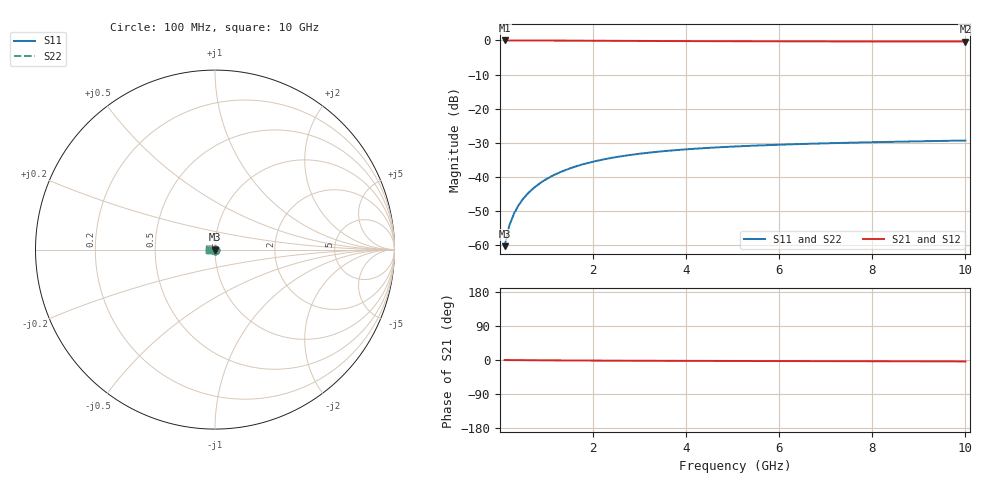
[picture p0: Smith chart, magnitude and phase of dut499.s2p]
! Touchstone file exported from HFSS 2024.1.0
!  File:  C:/UserFiles/LocalFiles/RDL_TSV_Batchsim/temp_TSV1_499_1779701231.aedt
!  Generated:  05:32:12 PM May 25, 2026
!  Design:  TSV1
!  Project:  temp_TSV1_499_1779701231
!  Setup:  Setup1
!  Solution:  Sweep
! Variables:
!  dtsv = 11.81um
!  hbump = 3um
!  htsv = 54.25um
!  lrdl = 252.1521522um
!  p = 40
!  p1 = 53um
!  t = 500um
!  trdl = 3um
!  wrdl = 24.89489489um
# GHz S MA R 50.000000
! Terminal data exported
! Port[1] = TSV22_T1
! Port[2] = TSV22_T2
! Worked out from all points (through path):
!   100 points, 100 MHz to 10 GHz, reference 50 ohm
!   highest |S21| = 0.00 dB at 100 MHz (marker M1); lowest = -0.3 dB at 10 GHz (marker M2)
!   lowest |S11| = -60.3 dB at 100 MHz (marker M3), VSWR 1.00, Z = 50 - j0.096 ohm
!   |S11| at or under -10 dB: start of sweep to end of sweep
!   |S22| runs from -60.3 to -29.4 dB; largest |S21 - S12| = 4e-15
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0.1  0.0009614 -87.0  0.9999 -0.1  0.9999 -0.1  0.0009614 -87.0
! Gamma 0 0 0 0
! Port Impedance 50 0 50 0
0.2  0.001918 -91.2  0.9998 -0.2  0.9998 -0.2  0.001918 -91.2
0.3  0.002875 -93.8  0.9996 -0.3  0.9996 -0.3  0.002875 -93.8
0.4  0.003828 -96.1  0.9994 -0.4  0.9994 -0.4  0.003828 -96.1
0.5  0.004772 -98.2  0.9991 -0.5  0.9991 -0.5  0.004772 -98.2
0.6  0.005705 -100.2  0.9987 -0.6  0.9987 -0.6  0.005705 -100.2
0.7  0.006623 -102.2  0.9983 -0.6  0.9983 -0.6  0.006623 -102.2
0.8  0.007526 -104.1  0.9979 -0.7  0.9979 -0.7  0.007526 -104.1
0.9  0.00841 -106.0  0.9974 -0.8  0.9974 -0.8  0.00841 -106.0
1.1  0.01012 -109.6  0.9963 -1.0  0.9963 -1.0  0.01012 -109.6
1.4  0.01251 -114.8  0.9944 -1.2  0.9944 -1.2  0.01251 -114.8
1.6  0.01399 -118.1  0.9931 -1.3  0.9931 -1.3  0.01399 -118.1
1.8  0.01537 -121.2  0.9917 -1.4  0.9917 -1.4  0.01537 -121.2
2.1  0.01727 -125.6  0.9897 -1.6  0.9897 -1.6  0.01727 -125.6
2.5  0.01948 -131.0  0.9869 -1.8  0.9869 -1.8  0.01948 -131.0
2.9  0.02137 -135.9  0.9844 -1.9  0.9844 -1.9  0.02137 -135.9
3.4  0.02336 -141.3  0.9815 -2.1  0.9815 -2.1  0.02336 -141.3
4.2  0.02585 -148.8  0.9775 -2.4  0.9775 -2.4  0.02585 -148.8
5.1  0.02796 -155.8  0.974 -2.6  0.974 -2.6  0.02796 -155.8
6.7  0.0306 -165.8  0.9697 -3.0  0.9697 -3.0  0.0306 -165.8
8.4  0.03258 -174.2  0.9666 -3.3  0.9666 -3.3  0.03259 -174.2
10  0.03407 179.1  0.9647 -3.7  0.9647 -3.7  0.03407 179.1
